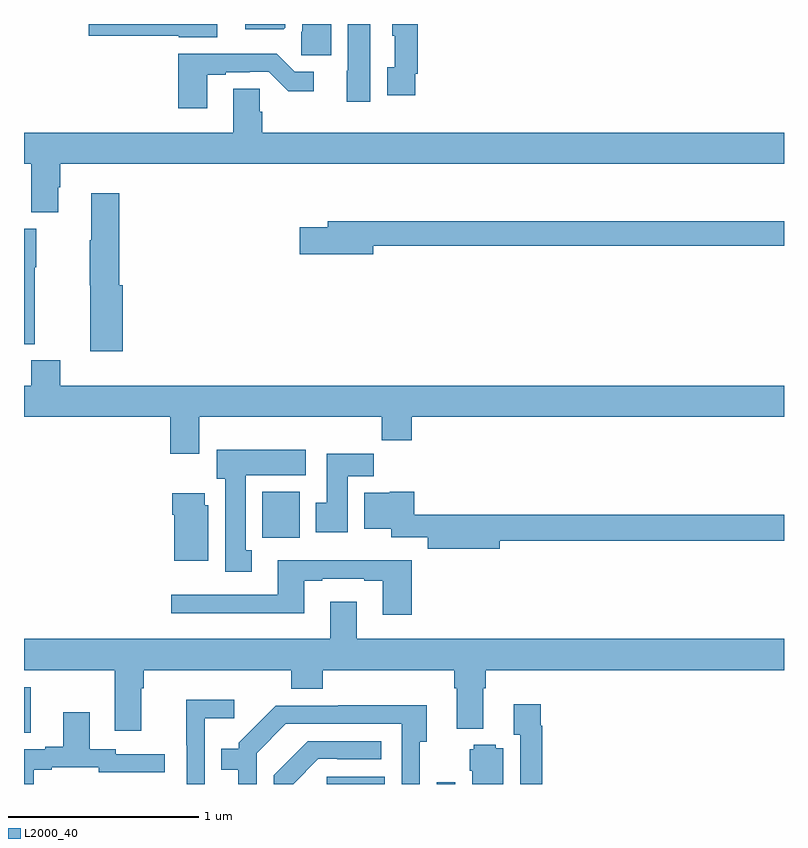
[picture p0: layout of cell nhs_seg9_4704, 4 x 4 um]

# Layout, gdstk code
import gdstk
lib = gdstk.Library(unit=1e-6, precision=1e-09)
def R(c, l, rs):  # rectangles x0, y0, x1, y1
    for r in rs: c.add(gdstk.rectangle(r[:2], r[2:], *l))
def P(c, l, *ps):  # polygons
    for p in ps: c.add(gdstk.Polygon(p, *l))
L2000_40 = (2000, 40)

nhs_seg9_4704 = lib.new_cell('nhs_seg9_4704')
R(nhs_seg9_4704, L2000_40, [(384.594,1182.5,384.898,1182.537), (385.173,1182.5,385.269,1182.508), (383,1182.769,383.035,1183.008), (384.254,1183.796,384.451,1184.038)])
P(nhs_seg9_4704, L2000_40, [(384.016,1186.5),(383.34,1186.5),(383.34,1186.439),(383.814,1186.439),(383.814,1186.43),(384.016,1186.43)],
  [(384.616,1186.5),(384.464,1186.5),(384.464,1186.458),(384.46,1186.458),(384.46,1186.335),(384.616,1186.335)],
  [(385.06,1186.237),(385.073,1186.237),(385.073,1186.5),(384.938,1186.5),(384.938,1186.437),(384.951,1186.437),(384.951,1186.273),(384.911,1186.273),(384.911,1186.125),(385.06,1186.125)],
  [(384.823,1186.5),(384.704,1186.5),(384.704,1186.254),(384.698,1186.254),(384.698,1186.092),(384.823,1186.092)],
  [(384.376,1186.48),(384.376,1186.5),(384.164,1186.5),(384.164,1186.472),(384.368,1186.472)],
  [(383.965,1186.233),(384.061,1186.233),(384.061,1186.245),(384.188,1186.245),(384.188,1186.248),(384.288,1186.248),(384.391,1186.146),(384.526,1186.146),(384.526,1186.248),(384.426,1186.248),(384.331,1186.343),(383.813,1186.343),(383.813,1186.056),(383.965,1186.056)],
  [(383.179,1185.642),(383.192,1185.642),(383.192,1185.764),(387,1185.764),(387,1185.928),(384.254,1185.928),(384.254,1186.038),(384.24,1186.038),(384.24,1186.16),(384.101,1186.16),(384.101,1185.928),(383,1185.928),(383,1185.764),(383.039,1185.764),(383.039,1185.508),(383.179,1185.508)],
  [(383.519,1185.126),(383.501,1185.126),(383.501,1185.61),(383.354,1185.61),(383.354,1185.362),(383.347,1185.362),(383.347,1185.126),(383.348,1185.126),(383.348,1184.778),(383.519,1184.778)],
  [(384.838,1185.334),(387,1185.334),(387,1185.463),(384.599,1185.463),(384.599,1185.429),(384.45,1185.429),(384.45,1185.287),(384.838,1185.287)],
  [(383.057,1185.22),(383.065,1185.22),(383.065,1185.423),(383,1185.423),(383,1184.814),(383.057,1184.814)],
  [(383.923,1184.432),(384.883,1184.432),(384.883,1184.308),(385.04,1184.308),(385.04,1184.432),(387,1184.432),(387,1184.596),(383.192,1184.596),(383.192,1184.729),(383.039,1184.729),(383.039,1184.596),(383,1184.596),(383,1184.432),(383.771,1184.432),(383.771,1184.238),(383.923,1184.238)],
  [(384.199,1183.73),(384.166,1183.73),(384.166,1184.126),(384.484,1184.126),(384.484,1184.26),(384.014,1184.26),(384.014,1184.106),(384.059,1184.106),(384.059,1183.617),(384.199,1183.617)],
  [(384.703,1184.12),(384.842,1184.12),(384.842,1184.239),(384.593,1184.239),(384.593,1183.98),(384.536,1183.98),(384.536,1183.824),(384.703,1183.824)],
  [(385.504,1183.78),(387,1183.78),(387,1183.916),(385.354,1183.916),(385.354,1183.917),(385.055,1183.917),(385.055,1184.038),(384.924,1184.038),(384.924,1184.032),(384.791,1184.032),(384.791,1183.844),(384.932,1183.844),(384.932,1183.799),(385.124,1183.799),(385.124,1183.738),(385.504,1183.738)],
  [(383.971,1183.968),(383.95,1183.968),(383.95,1184.029),(383.78,1184.029),(383.78,1183.916),(383.792,1183.916),(383.792,1183.676),(383.971,1183.676)],
  [(385.04,1183.678),(384.335,1183.678),(384.335,1183.497),(383.775,1183.497),(383.775,1183.4),(384.475,1183.4),(384.475,1183.569),(384.571,1183.569),(384.571,1183.581),(384.791,1183.581),(384.791,1183.569),(384.887,1183.569),(384.887,1183.392),(385.04,1183.392)],
  [(383.617,1183.004),(383.63,1183.004),(383.63,1183.1),(384.407,1183.1),(384.407,1183.001),(384.572,1183.001),(384.572,1183.1),(385.265,1183.1),(385.265,1183.004),(385.277,1183.004),(385.277,1182.791),(385.417,1182.791),(385.417,1183.004),(385.43,1183.004),(385.43,1183.1),(387,1183.1),(387,1183.264),(384.751,1183.264),(384.751,1183.459),(384.611,1183.459),(384.611,1183.264),(383,1183.264),(383,1183.1),(383.477,1183.1),(383.477,1182.78),(383.617,1182.78)],
  [(383.952,1182.845),(384.106,1182.845),(384.106,1182.943),(383.854,1182.943),(383.854,1182.704),(383.856,1182.704),(383.856,1182.5),(383.952,1182.5)],
  [(385.727,1182.806),(385.72,1182.806),(385.72,1182.919),(385.577,1182.919),(385.577,1182.758),(385.611,1182.758),(385.611,1182.5),(385.727,1182.5)],
  [(384.225,1182.663),(384.378,1182.816),(384.987,1182.816),(384.987,1182.5),(385.083,1182.5),(385.083,1182.722),(385.12,1182.722),(385.12,1182.914),(384.655,1182.914),(384.655,1182.912),(384.324,1182.912),(384.129,1182.717),(384.129,1182.685),(384.037,1182.685),(384.037,1182.576),(384.128,1182.576),(384.128,1182.5),(384.225,1182.5)],
  [(383.05,1182.576),(383.146,1182.576),(383.146,1182.588),(383.394,1182.588),(383.394,1182.561),(383.74,1182.561),(383.74,1182.657),(383.484,1182.657),(383.484,1182.684),(383.347,1182.684),(383.347,1182.877),(383.207,1182.877),(383.207,1182.697),(383.111,1182.697),(383.111,1182.684),(383,1182.684),(383,1182.5),(383.05,1182.5)],
  [(384.549,1182.633),(384.649,1182.633),(384.649,1182.63),(384.88,1182.63),(384.88,1182.726),(384.494,1182.726),(384.315,1182.547),(384.315,1182.5),(384.416,1182.5)],
  [(385.522,1182.688),(385.482,1182.688),(385.482,1182.706),(385.368,1182.706),(385.368,1182.684),(385.346,1182.684),(385.346,1182.57),(385.358,1182.57),(385.358,1182.5),(385.522,1182.5)])

lib.write_gds('nhs_seg9_4704.gds')
